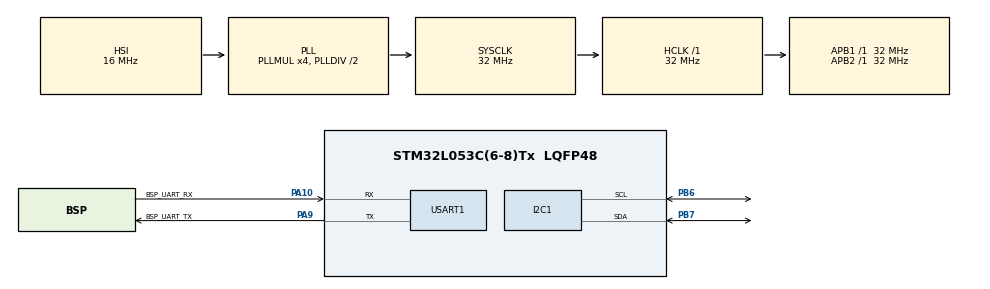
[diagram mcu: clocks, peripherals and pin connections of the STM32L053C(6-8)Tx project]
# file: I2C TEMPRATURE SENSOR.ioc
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I2C1.Timing=0x00707CBB
Mcu.Family=STM32L0
Mcu.Name=STM32L053C(6-8)Tx
Mcu.Package=LQFP48
PA10.GPIO_Label=BSP_UART_RX
PA10.Mode=Asynchronous
PA10.Signal=USART1_RX
PA13.Mode=Serial_Wire
PA13.Signal=SYS_SWDIO
PA14.Mode=Serial_Wire
PA14.Signal=SYS_SWCLK
PA9.GPIO_Label=BSP_UART_TX
PA9.Mode=Asynchronous
PA9.Signal=USART1_TX
PB6.Mode=I2C
PB6.Signal=I2C1_SCL
PB7.Mode=I2C
PB7.Signal=I2C1_SDA
PC14-OSC32_IN.Mode=LSE-External-Oscillator
PC14-OSC32_IN.Signal=RCC_OSC32_IN
PC15-OSC32_OUT.Mode=LSE-External-Oscillator
PC15-OSC32_OUT.Signal=RCC_OSC32_OUT
PH0-OSC_IN.Mode=HSE-External-Oscillator
PH0-OSC_IN.Signal=RCC_OSC_IN
PH1-OSC_OUT.Mode=HSE-External-Oscillator
PH1-OSC_OUT.Signal=RCC_OSC_OUT
ProjectManager.HeapSize=0x200
ProjectManager.StackSize=0x400
ProjectManager.TargetToolchain=STM32CubeIDE
RCC.AHBFreq_Value=32000000
RCC.APB1Freq_Value=32000000
RCC.APB1TimFreq_Value=32000000
RCC.APB2Freq_Value=32000000
RCC.APB2TimFreq_Value=32000000
RCC.HCLKFreq_Value=32000000
RCC.HSE_VALUE=8000000
RCC.HSI16_VALUE=16000000
RCC.HSI48MClockSelection=RCC_USBCLKSOURCE_HSI48
RCC.HSI48_VALUE=48000000
RCC.HSI_VALUE=16000000
RCC.MSI_VALUE=2097000
RCC.PLLMUL=RCC_PLLMUL_4
RCC.RTCClockSelectionVirtual=RCC_RTCCLKSOURCE_LSE
RCC.SYSCLKFreq_VALUE=32000000
RCC.SYSCLKSource=RCC_SYSCLKSOURCE_PLLCLK
RCC.VCOOutputFreq_Value=64000000
USART1.VirtualMode-Asynchronous=VM_ASYNC
board=STM32L0538-DISCO

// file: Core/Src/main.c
/* USER CODE BEGIN Header */
/**
 ******************************************************************************
 * @file           : main.c
 * @brief          : Main program body
 ******************************************************************************
 * @attention
 *
 * Copyright (c) 2023 STMicroelectronics.
 * All rights reserved.
 *
 * This software is licensed under terms that can be found in the LICENSE file
 * in the root directory of this software component.
 * If no LICENSE file comes with this software, it is provided AS-IS.
 *
 ******************************************************************************
 */
/* USER CODE END Header */

#include "sht21.h"
#include <stdio.h>
#include <string.h>
/* USER CODE END Includes */

I2C_HandleTypeDef hi2c1;

UART_HandleTypeDef huart1;

/* USER CODE BEGIN PV */
//uint8_t i = 0, ret;
//uint8_t Buffer[25] = { 0 };
//uint8_t Space[] = " - ";
//uint8_t StartMSG[] = "Starting I2C Scanning: \r\n";
//uint8_t EndMSG[] = "Done! \r\n\r\n";
/* USER CODE END PV */

void SystemClock_Config(void);
static void MX_GPIO_Init(void);
static void MX_I2C1_Init(void);
static void MX_USART1_UART_Init(void);

int main(void) {

	/* MCU Configuration--------------------------------------------------------*/

	/* Reset of all peripherals, Initializes the Flash interface and the Systick. */
	HAL_Init();

	/* Configure the system clock */
	SystemClock_Config();

	/* Initialize all configured peripherals */
	MX_GPIO_Init();
	MX_I2C1_Init();
	MX_USART1_UART_Init();
	/* USER CODE BEGIN 2 */

//	/*-[ I2C Bus Scanning ]-*/
//	HAL_UART_Transmit(&huart1, StartMSG, sizeof(StartMSG), 10000);
//	for (i = 1; i < 128; i++) {
//		ret = HAL_I2C_IsDeviceReady(&hi2c1, (uint16_t) (i << 1), 3, 5);
//		if (ret != HAL_OK) /* No ACK Received At That Address */
//		{
//			HAL_UART_Transmit(&huart1, Space, sizeof(Space), 10000);
//		} else if (ret == HAL_OK) {
//			sprintf(Buffer, "0x%X", i);
//			HAL_UART_Transmit(&huart1, Buffer, sizeof(Buffer), 10000);
//		}
//	}
//	HAL_UART_Transmit(&huart1, EndMSG, sizeof(EndMSG), 10000);
//	/*--[ Scanning Done ]--*/

	/* Initializes SHT2x temperature/humidity sensor and sets the resolution. */
		SHT2x_Init(&hi2c1);
		SHT2x_SetResolution(RES_14_12);
	/* USER CODE END 2 */

	/* Infinite loop */
	while (1) {

		/* USER CODE BEGIN 3 */
		unsigned char buffer[100] = { 0 };
				/* Gets current temperature & relative humidity. */
				float cel = SHT2x_GetTemperature(1);
				/* Converts temperature to degrees Fahrenheit and Kelvin */
				float fah = SHT2x_CelsiusToFahrenheit(cel);
				float kel = SHT2x_CelsiusToKelvin(cel);
				float rh = SHT2x_GetRelativeHumidity(1);
				/* May show warning below. Ignore and proceed. */
				sprintf(buffer,
						"%d.%dºC, %d.%dºF, %d.%d K, %d.%d%% RH\n",
						SHT2x_GetInteger(cel), SHT2x_GetDecimal(cel, 1),
						SHT2x_GetInteger(fah), SHT2x_GetDecimal(fah, 1),
						SHT2x_GetInteger(kel), SHT2x_GetDecimal(kel, 1),
						SHT2x_GetInteger(rh), SHT2x_GetDecimal(rh, 1));
				HAL_UART_Transmit(&huart1, buffer, strlen(buffer), 1000);
				HAL_Delay(250);

	}
	/* USER CODE END 3 */
}

void SystemClock_Config(void) {
	RCC_OscInitTypeDef RCC_OscInitStruct = { 0 };
	RCC_ClkInitTypeDef RCC_ClkInitStruct = { 0 };
	RCC_PeriphCLKInitTypeDef PeriphClkInit = { 0 };

	/** Configure the main internal regulator output voltage
	 */
	__HAL_PWR_VOLTAGESCALING_CONFIG(PWR_REGULATOR_VOLTAGE_SCALE1);

	/** Initializes the RCC Oscillators according to the specified parameters
	 * in the RCC_OscInitTypeDef structure.
	 */
	RCC_OscInitStruct.OscillatorType = RCC_OSCILLATORTYPE_HSI;
	RCC_OscInitStruct.HSIState = RCC_HSI_ON;
	RCC_OscInitStruct.HSICalibrationValue = RCC_HSICALIBRATION_DEFAULT;
	RCC_OscInitStruct.PLL.PLLState = RCC_PLL_ON;
	RCC_OscInitStruct.PLL.PLLSource = RCC_PLLSOURCE_HSI;
	RCC_OscInitStruct.PLL.PLLMUL = RCC_PLLMUL_4;
	RCC_OscInitStruct.PLL.PLLDIV = RCC_PLLDIV_2;
	if (HAL_RCC_OscConfig(&RCC_OscInitStruct) != HAL_OK) {
		Error_Handler();
	}

	/** Initializes the CPU, AHB and APB buses clocks
	 */
	RCC_ClkInitStruct.ClockType = RCC_CLOCKTYPE_HCLK | RCC_CLOCKTYPE_SYSCLK
			| RCC_CLOCKTYPE_PCLK1 | RCC_CLOCKTYPE_PCLK2;
	RCC_ClkInitStruct.SYSCLKSource = RCC_SYSCLKSOURCE_PLLCLK;
	RCC_ClkInitStruct.AHBCLKDivider = RCC_SYSCLK_DIV1;
	RCC_ClkInitStruct.APB1CLKDivider = RCC_HCLK_DIV1;
	RCC_ClkInitStruct.APB2CLKDivider = RCC_HCLK_DIV1;

	if (HAL_RCC_ClockConfig(&RCC_ClkInitStruct, FLASH_LATENCY_1) != HAL_OK) {
		Error_Handler();
	}
	PeriphClkInit.PeriphClockSelection = RCC_PERIPHCLK_USART1
			| RCC_PERIPHCLK_I2C1;
	PeriphClkInit.Usart1ClockSelection = RCC_USART1CLKSOURCE_PCLK2;
	PeriphClkInit.I2c1ClockSelection = RCC_I2C1CLKSOURCE_PCLK1;
	if (HAL_RCCEx_PeriphCLKConfig(&PeriphClkInit) != HAL_OK) {
		Error_Handler();
	}
}

static void MX_I2C1_Init(void) {

	hi2c1.Instance = I2C1;
	hi2c1.Init.Timing = 0x00707CBB;
	hi2c1.Init.OwnAddress1 = 0;
	hi2c1.Init.AddressingMode = I2C_ADDRESSINGMODE_7BIT;
	hi2c1.Init.DualAddressMode = I2C_DUALADDRESS_DISABLE;
	hi2c1.Init.OwnAddress2 = 0;
	hi2c1.Init.OwnAddress2Masks = I2C_OA2_NOMASK;
	hi2c1.Init.GeneralCallMode = I2C_GENERALCALL_DISABLE;
	hi2c1.Init.NoStretchMode = I2C_NOSTRETCH_DISABLE;
	if (HAL_I2C_Init(&hi2c1) != HAL_OK) {
		Error_Handler();
	}

	/** Configure Analogue filter
	 */
	if (HAL_I2CEx_ConfigAnalogFilter(&hi2c1, I2C_ANALOGFILTER_ENABLE)
			!= HAL_OK) {
		Error_Handler();
	}

	/** Configure Digital filter
	 */
	if (HAL_I2CEx_ConfigDigitalFilter(&hi2c1, 0) != HAL_OK) {
		Error_Handler();
	}

}

static void MX_USART1_UART_Init(void) {

	huart1.Instance = USART1;
	huart1.Init.BaudRate = 115200;
	huart1.Init.WordLength = UART_WORDLENGTH_8B;
	huart1.Init.StopBits = UART_STOPBITS_1;
	huart1.Init.Parity = UART_PARITY_NONE;
	huart1.Init.Mode = UART_MODE_TX_RX;
	huart1.Init.HwFlowCtl = UART_HWCONTROL_NONE;
	huart1.Init.OverSampling = UART_OVERSAMPLING_16;
	huart1.Init.OneBitSampling = UART_ONE_BIT_SAMPLE_DISABLE;
	huart1.AdvancedInit.AdvFeatureInit = UART_ADVFEATURE_NO_INIT;
	if (HAL_UART_Init(&huart1) != HAL_OK) {
		Error_Handler();
	}

}

static void MX_GPIO_Init(void) {

	/* GPIO Ports Clock Enable */
	__HAL_RCC_GPIOC_CLK_ENABLE();
	__HAL_RCC_GPIOH_CLK_ENABLE();
	__HAL_RCC_GPIOA_CLK_ENABLE();
	__HAL_RCC_GPIOB_CLK_ENABLE();

}

void Error_Handler(void) {
	__disable_irq();
	while (1) {
	}
}
